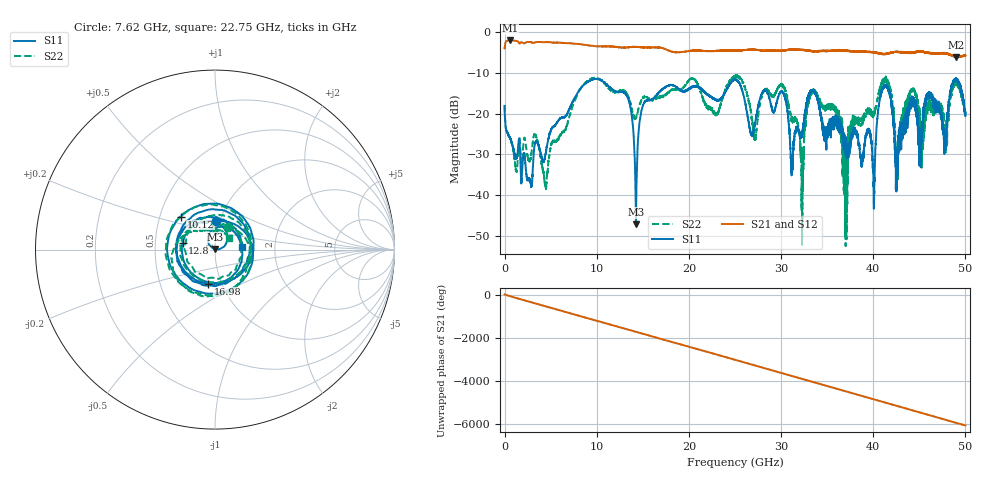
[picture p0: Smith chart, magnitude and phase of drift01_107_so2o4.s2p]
!Created with skrf (http://scikit-rf.org).
# Hz S RI R 50.0
!freq ReS11 ImS11 ReS21 ImS21 ReS12 ImS12 ReS22 ImS22
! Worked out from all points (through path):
!   10001 points, 300 kHz to 50 GHz, reference 50 ohm
!   highest |S21| = -2.00 dB at 580.3 MHz (marker M1); lowest = -6.1 dB at 48.98 GHz (marker M2)
!   group delay of S21, straight-line fit = 336 ps
!   lowest |S11| = -47.3 dB at 14.25 GHz (marker M3), VSWR 1.01, Z = 50.1 + j0.428 ohm
!   |S11| at or under -10 dB: start of sweep to end of sweep
!   |S22| runs from -52.6 to -10.5 dB; largest |S21 - S12| = 0.023
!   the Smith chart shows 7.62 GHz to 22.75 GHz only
!   S11 on the Smith chart (normalised r, x): 7.62 GHz: 0.97, +0.31; 10.12 GHz: 0.64, +0.25; 12.8 GHz: 0.69, +0.05; 16.98 GHz: 0.86, -0.34; 22.75 GHz: 1.35, +0.04
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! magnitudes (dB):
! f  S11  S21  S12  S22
! 300 kHz  -18.2  -3.9  -4.0  -17.8
! 580.3 MHz  -26.0  -2.0  -2.0  -26.0
! 4.44 GHz  -30.0  -2.4  -2.4  -37.7
! 7.62 GHz  -16.1  -2.8  -2.8  -16.8
! 8.335 GHz  -13.5  -3.0  -3.0  -13.5
! 10.12 GHz  -11.5  -3.4  -3.4  -11.4
! 12.8 GHz  -14.7  -3.7  -3.7  -14.3
! 14.25 GHz  -47.3  -3.6  -3.6  -21.1
! 16.67 GHz  -14.9  -3.7  -3.7  -15.8
! 16.98 GHz  -14.2  -3.8  -3.8  -15.7
! 22.75 GHz  -16.5  -4.6  -4.6  -19.9
! 25 GHz  -11.6  -4.5  -4.5  -10.9
! 27.15 GHz  -22.5  -4.3  -4.3  -26.1
! 30.2 GHz  -14.9  -4.5  -4.5  -13.3
! 32.26 GHz  -25.5  -4.3  -4.3  -36.3
! 33.34 GHz  -14.2  -4.6  -4.6  -14.6
! 36.95 GHz  -28.1  -4.5  -4.5  -37.1
! 40.06 GHz  -40.0  -4.9  -4.9  -20.2
! 41.67 GHz  -14.1  -5.1  -5.1  -12.8
! 42.56 GHz  -35.6  -4.8  -4.8  -29.3
! 48.98 GHz  -11.6  -6.1  -6.0  -12.8
! 50 GHz  -19.6  -5.7  -5.8  -19.7
